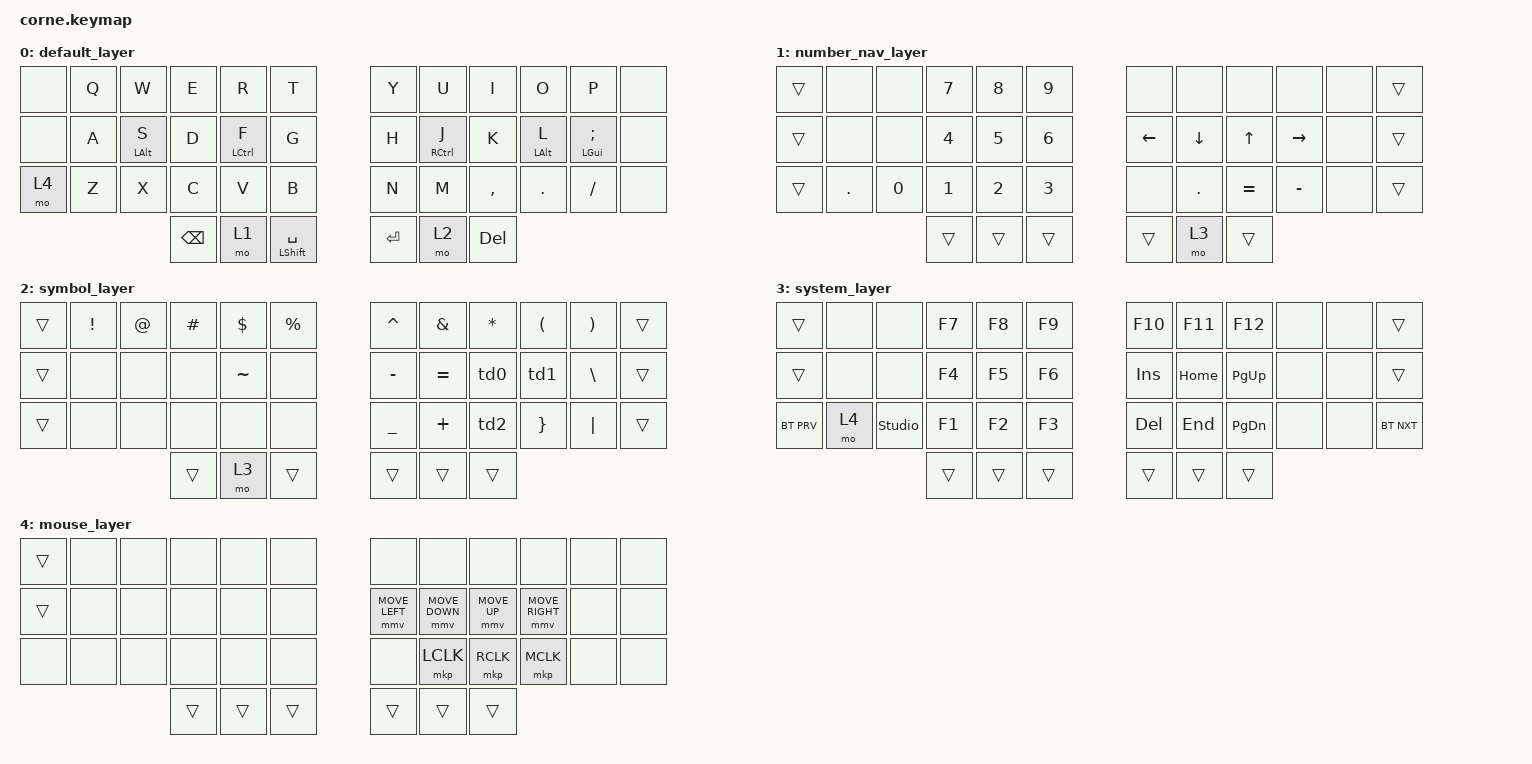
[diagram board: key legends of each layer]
/*
 * Copyright (c) 2020 The ZMK Contributors
 *
 * SPDX-License-Identifier: MIT
 */

#include <behaviors.dtsi>
#include <dt-bindings/zmk/keys.h>
#include <dt-bindings/zmk/bt.h>
#include <dt-bindings/zmk/pointing.h>

/ {
        combos {
                compatible = "zmk,combos";
                combo_esc {
                        timeout-ms = <50>;
                        key-positions = <19 20>;
                        bindings = <&kp ESC>;
                };
                combo_tab {
                        timeout-ms = <50>;
                        key-positions = <13 14>;
                        bindings = <&kp TAB>;
                };
                combo_bspc {
                        timeout-ms = <50>;
                        key-positions = <15 16>;
                        bindings = <&kp BSPC>;
                };
                combo_zmk_studio_unlock {
                        timeout-ms = <50>;
                        key-positions = <1 2>;
                        bindings = <&studio_unlock>;
                };
        };

        behaviors {
                td0: open_parent_mod_tap {
                        compatible = "zmk,behavior-tap-dance";
                        #binding-cells = <0>;
                        tapping-term-ms = <400>;
                        bindings = <&kp LPAR>, <&kp LBKT>, <&kp LBRC>;
                };
                td1: close_parent_mod_tap {
                        compatible = "zmk,behavior-tap-dance";
                        #binding-cells = <0>;
                        tapping-term-ms = <400>;
                        bindings = <&kp RPAR>, <&kp RBKT>, <&kp RBRC>;
                };
                td2: quote_mod_tap {
                        compatible = "zmk,behavior-tap-dance";
                        #binding-cells = <0>;
                        tapping-term-ms = <400>;
                        bindings = <&kp SINGLE_QUOTE>, <&kp DQT>, <&kp GRAV>;
                };
                ht_hp: hold_tap_hp {
                        compatible = "zmk,behavior-hold-tap";
                        #binding-cells = <2>;
                        flavor = "hold-preferred";
                        tapping-term-ms = <200>;
                        quick-tap-ms = <50>;
                        require-prior-idle-ms = <0>;
                        bindings = <&kp>, <&kp>;
                };
                ht_tp: hold_tap_tp {
                        compatible = "zmk,behavior-hold-tap";
                        #binding-cells = <2>;
                        flavor = "tap-preferred";
                        tapping-term-ms = <200>;
                        quick-tap-ms = <50>;
                        require-prior-idle-ms = <0>;
                        bindings = <&kp>, <&kp>;
                };
                ht_tp_ret: retro_hold_tap {
                        compatible = "zmk,behavior-hold-tap";
                        #binding-cells = <2>;
                        flavor = "tap-preferred";
                        tapping-term-ms = <200>;
                        quick-tap-ms = <50>;
                        require-prior-idle-ms = <0>;
                        bindings = <&kp>, <&kp>;
                        retro-tap;
                };
        };


        keymap {
                compatible = "zmk,keymap";

                default_layer {
// -----------------------------------------------------------------------------------------
// |      |  Q  |  W  |  E  |  R  |  T  |   |  Y  |  U   |  I  |  O  |  P  |      |
// |      |  A  |  S  |  D  |  F  |  G  |   |  H  |  J   |  K  |  L  |  ;  |      |
// |      |  Z  |  X  |  C  |  V  |  B  |   |  N  |  M   |  ,  |  .  |  /  |      |
//                    | GUI | LWR | SPC |   | ENT | RSE  | ALT |
                        bindings = <
   &none     &kp Q   &kp W         &kp E    &kp R          &kp T                 &kp Y   &kp U          &kp I     &kp O          &kp P                 &none
   &none     &kp A   &ht_tp LALT S &kp D    &ht_tp LCTRL F &kp G                 &kp H   &ht_tp RCTRL J &kp K     &ht_tp LALT L  &ht_tp LGUI SEMI  &none
   &mo 4     &kp Z   &kp X         &kp C    &kp V          &kp B                 &kp N   &kp M          &kp COMMA &kp DOT        &kp FSLH              &none
                                   &kp BSPC &mo 1          &ht_hp LSHIFT SPC     &kp RET &mo 2          &kp DEL
                        >;
                };
                number_nav_layer {
// -----------------------------------------------------------------------------------------
// |      |  1  |  2  |  3  |  4  |  5  |   |  6  |  7  |  8  |  9  |  0  |      |
// |      | BT1 | BT2 | BT3 | BT4 | BT5 |   | LFT | DWN |  UP | RGT |     |      |
// |      |     |     |     |     |     |   |     |     |     |     |     |      |
//                    | GUI |     | SPC |   | ENT |     | ALT |
                        bindings = <
   &trans     &none      &none       &kp N7       &kp N8       &kp N9         &none    &none    &none      &none     &none  &trans
   &trans     &none      &none       &kp N4       &kp N5       &kp N6         &kp LEFT &kp DOWN &kp UP     &kp RIGHT &none  &trans
   &trans     &kp DOT    &kp N0      &kp N1       &kp N2       &kp N3         &none    &kp DOT  &kp EQUAL  &kp MINUS &none &trans
                                     &trans       &trans       &trans         &trans   &mo 3    &trans
                        >;
                };

                symbol_layer {
// -----------------------------------------------------------------------------------------
// |      |  !  |  @  |  #  |  $  |  %  |   |  ^  |  &  |  *  |  (  |  )  |      |
// |      |     |     |     |     |     |   |  -  |  =  |  [  |  ]  |  \  |      |
// |      |     |     |     |     |     |   |  _  |  +  |  {  |  }  | "|" |      |
//                    | GUI |     | SPC |   | ENT |     | ALT |
                        bindings = <
   &trans   &kp EXCL  &kp AT     &kp HASH   &kp DLLR   &kp PRCNT       &kp CARET &kp AMPS  &kp ASTRK &kp LPAR &kp RPAR &trans
   &trans   &none     &none      &none      &kp TILDE  &none           &kp MINUS &kp EQUAL &td0      &td1     &kp BSLH &trans
   &trans   &none     &none      &none      &none      &none           &kp UNDER &kp PLUS  &td2      &kp RBRC &kp PIPE &trans
                                 &trans     &mo 3      &trans          &trans    &trans    &trans
                        >;
                };

                system_layer {
                        bindings = <
   &trans       &none     &none              &kp F7     &kp F8  &kp F9      &kp F10  &kp F11  &kp F12    &none &none  &trans
   &trans       &none     &none              &kp F4     &kp F5  &kp F6      &kp INS  &kp HOME &kp PG_UP  &none &none  &trans
   &bt BT_PRV   &mo 4     &studio_unlock     &kp F1     &kp F2  &kp F3      &kp DEL  &kp END  &kp PG_DN  &none &none  &bt BT_NXT 
                                         &trans     &trans  &trans      &trans  &trans &trans
                        >;
                };
                mouse_layer {
                        bindings = <
   &trans       &none     &none     &none     &none  &none      &none           &none          &none         &none           &none  &none
   &trans       &none     &none     &none     &none  &none      &mmv MOVE_LEFT  &mmv MOVE_DOWN &mmv MOVE_UP  &mmv MOVE_RIGHT &none  &none
   &none        &none     &none     &none     &none  &none      &none           &mkp LCLK      &mkp RCLK     &mkp MCLK       &none  &none
                                    &trans    &trans &trans     &trans  &trans &trans
                        >;
                };

        };
};
